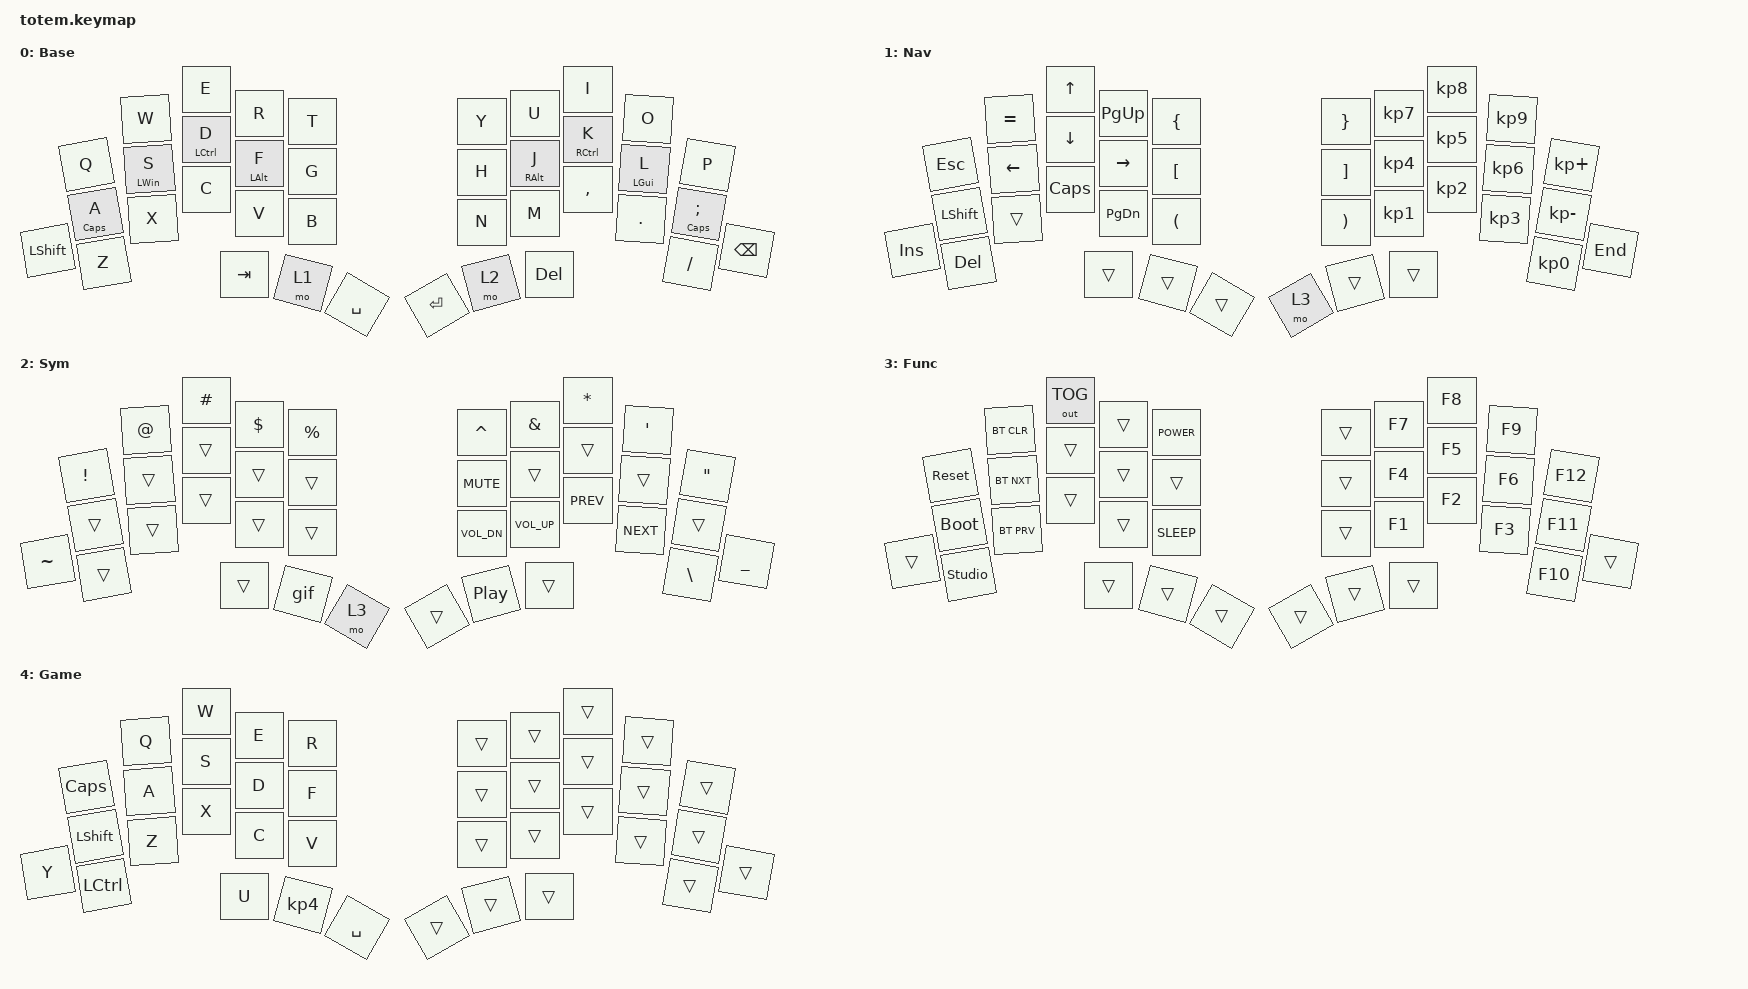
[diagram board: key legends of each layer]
//
//                                                        ▀▀▀▀▀     ▀▀▀▀▀          ▀▀█▀▀
//                                                        ▄▀▀▀▄  ▄  ▄▀▀▀▄  ▄  ▄▀▀▀▄  █  ▄▀▀▀▄
//                                                        █   █  █  █   █  █  █   █  █  █   █
//                                                         ▀▀▀   █   ▀▀▀   █   ▀▀▀   ▀   ▀▀▀
//                                                               █      ▄▄▄█▄▄▄    █   █  
//                                                               ▀      █  █  █     █▄█
//                                                             ▀▀▀▀▀    █  █  █      ▀
//                                                                      ▀  ▀  ▀
//
// ▄▄▄▄▄▄▄▄▄▄▄▄▄▄▄▄▄▄▄▄▄▄▄▄▄▄▄▄▄▄▄▄▄▄▄▄▄▄▄▄▄▄▄▄▄▄▄▄▄▄▄▄▄▄▄▄▄▄▄▄▄▄▄▄▄▄▄▄▄▄▄▄▄▄▄▄▄▄▄▄▄▄▄▄▄▄▄▄▄▄▄▄▄▄▄▄▄▄▄▄▄▄▄▄▄▄▄▄▄▄▄▄▄▄▄▄▄▄▄▄▄▄▄▄▄▄▄▄▄▄▄▄▄▄▄▄▄▄▄▄▄▄▄▄▄▄▄▄▄

#include <behaviors.dtsi>
#include <dt-bindings/zmk/bt.h>
#include <dt-bindings/zmk/keys.h>
#include <dt-bindings/zmk/outputs.h>

#define BASE 0
#define NAV  1
#define SYM  2
#define ADJ  3
#define TVP1 4
#define TVP2 5

&mt {
    quick-tap-ms = <100>;
    global-quick-tap;
    flavor = "tap-preferred";
    tapping-term-ms = <1000>;
};

/ {
    combos {
        compatible = "zmk,combos";

        combo_esc {
            timeout-ms = <50>;
            key-positions = <0 1>;
            bindings = <&kp ESC>;
        };

        Backspace {
            bindings = <&kp BACKSPACE>;
            key-positions = <16 17>;
        };

        Enter {
            bindings = <&kp ENTER>;
            key-positions = <6 7>;
        };

        Game {
            bindings = <&to 4>;
            key-positions = <34 33 32>;
            layers = <4>;
        };
    };

    macros {
        gif: gif {
            label = "giphy";
            compatible = "zmk,behavior-macro";
            #binding-cells = <0>;
            bindings =
                <&macro_press>,
                <&kp LSHFT>,
                <&macro_tap>,
                <&kp N2>,
                <&macro_release>,
                <&kp LSHFT>,
                <&macro_tap>,
                <&kp G &kp I &kp F>;
        };
    };

    keymap {
        compatible = "zmk,keymap";

        // ▄▄▄▄▄▄▄▄▄▄▄▄▄▄▄▄▄▄▄▄▄▄▄▄▄▄▄▄▄▄▄▄▄▄▄▄▄▄▄▄▄▄▄▄▄▄▄▄▄▄▄▄▄▄▄▄▄▄▄▄▄▄▄▄▄▄▄▄▄▄▄▄▄▄▄▄▄▄▄▄▄▄▄▄▄▄▄▄▄▄▄▄▄▄▄▄▄▄▄▄▄▄▄▄▄▄▄▄▄▄▄▄▄▄▄▄▄▄▄▄▄▄▄▄▄▄▄▄▄▄▄▄▄▄▄▄▄▄▄▄▄▄▄▄▄▄▄▄▄

        base_layer {
            // ┏━━━━━━━━━━━━━━━━━━━━━━━━━━━━━━━━━━━━━━━┓

            label = "Base";

            // ┗━━━━━━━━━━━━━━━━━━━━━━━━━━━━━━━━━━━━━━━┛
            //             ┏━━━━━━━━━━━┳━━━━━━━━━━━┳━━━━━━━━━━━┳━━━━━━━━━━━┳━━━━━━━━━━━┓   ┏━━━━━━━━━━━┳━━━━━━━━━━━┳━━━━━━━━━━━┳━━━━━━━━━━━┳━━━━━━━━━━━┓
            //             ┃     Q     ┃     W     ┃     F     ┃     P     ┃     G     ┃   ┃     J     ┃     L     ┃     U     ┃     Y     ┃     ;     ┃
            //             ┣━━━━━━━━━━━╋━━━━━━━━━━━╋━━━━━━━━━━━╋━━━━━━━━━━━╋━━━━━━━━━━━┫   ┣━━━━━━━━━━━╋━━━━━━━━━━━╋━━━━━━━━━━━╋━━━━━━━━━━━╋━━━━━━━━━━━┫
            //             ┃     A     ┃     R     ┃     S     ┃     T     ┃     D     ┃   ┃     H     ┃     N     ┃     E     ┃     I     ┃     O     ┃
            // ┏━━━━━━━━━━━╋━━━━━━━━━━━╋━━━━━━━━━━━╋━━━━━━━━━━━╋━━━━━━━━━━━╋━━━━━━━━━━━┫   ┣━━━━━━━━━━━╋━━━━━━━━━━━╋━━━━━━━━━━━╋━━━━━━━━━━━╋━━━━━━━━━━━╋━━━━━━━━━━━┓
            // ┃     Q     ┃     Z     ┃     X     ┃     C     ┃     V     ┃     B     ┃   ┃     K     ┃     M     ┃     ,     ┃     .     ┃     /     ┃     \     ┃
            // ┗━━━━━━━━━━━┻━━━━━━━━━━━┻━━━━━━━━━━━╋━━━━━━━━━━━╋━━━━━━━━━━━╋━━━━━━━━━━━┫   ┣━━━━━━━━━━━╋━━━━━━━━━━━╋━━━━━━━━━━━╋━━━━━━━━━━━┻━━━━━━━━━━━┻━━━━━━━━━━━┛
            //                                     ┃    DEL    ┃    TAB    ┃    SPC    ┃   ┃   ENTER   ┃           ┃   BSPC    ┃
            //                                     ┗━━━━━━━━━━━┻━━━━━━━━━━━┻━━━━━━━━━━━┛   ┗━━━━━━━━━━━┻━━━━━━━━━━━┻━━━━━━━━━━━┛

            bindings = <
                &kp Q       &kp W           &kp E               &kp R           &kp T        &kp Y    &kp U            &kp I                &kp O           &kp P
                &mt CLCK A  &mt LEFT_WIN S  &mt LEFT_CONTROL D  &mt LEFT_ALT F  &kp G        &kp H    &mt RIGHT_ALT J  &mt RIGHT_CONTROL K  &mt LEFT_GUI L  &mt CLCK SEMICOLON
&kp LEFT_SHIFT  &kp Z       &kp X           &kp C               &kp V           &kp B        &kp N    &kp M            &kp COMMA            &kp DOT         &kp FSLH            &kp BACKSPACE
                                            &kp TAB             &mo 1           &kp SPACE    &kp RET  &mo 2            &kp DEL
            >;
        };

        // ▄▄▄▄▄▄▄▄▄▄▄▄▄▄▄▄▄▄▄▄▄▄▄▄▄▄▄▄▄▄▄▄▄▄▄▄▄▄▄▄▄▄▄▄▄▄▄▄▄▄▄▄▄▄▄▄▄▄▄▄▄▄▄▄▄▄▄▄▄▄▄▄▄▄▄▄▄▄▄▄▄▄▄▄▄▄▄▄▄▄▄▄▄▄▄▄▄▄▄▄▄▄▄▄▄▄▄▄▄▄▄▄▄▄▄▄▄▄▄▄▄▄▄▄▄▄▄▄▄▄▄▄▄▄▄▄▄▄▄▄▄▄▄▄▄▄▄▄▄

        nav_layer {
            // ┏━━━━━━━━━━━━━━━━━━━━━━━━━━━━━━━━━━━━━━━┓

            label = "Nav";

            // ┗━━━━━━━━━━━━━━━━━━━━━━━━━━━━━━━━━━━━━━━┛
            //             ┏━━━━━━━━━━━┳━━━━━━━━━━━┳━━━━━━━━━━━┳━━━━━━━━━━━┳━━━━━━━━━━━┓   ┏━━━━━━━━━━━┳━━━━━━━━━━━┳━━━━━━━━━━━┳━━━━━━━━━━━┳━━━━━━━━━━━┓
            //             ┃           ┃           ┃     UP    ┃           ┃     {     ┃   ┃     }     ┃     7     ┃     8     ┃     9     ┃     +     ┃
            //             ┣━━━━━━━━━━━╋━━━━━━━━━━━╋━━━━━━━━━━━╋━━━━━━━━━━━╋━━━━━━━━━━━┫   ┣━━━━━━━━━━━╋━━━━━━━━━━━╋━━━━━━━━━━━╋━━━━━━━━━━━╋━━━━━━━━━━━┫
            //             ┃   SHIFT   ┃   LEFT    ┃    DOWN   ┃   RIGHT   ┃     [     ┃   ┃     ]     ┃     4     ┃     5     ┃     6     ┃     -     ┃
            // ┏━━━━━━━━━━━╋━━━━━━━━━━━╋━━━━━━━━━━━╋━━━━━━━━━━━╋━━━━━━━━━━━╋━━━━━━━━━━━┫   ┣━━━━━━━━━━━╋━━━━━━━━━━━╋━━━━━━━━━━━╋━━━━━━━━━━━╋━━━━━━━━━━━╋━━━━━━━━━━━┓
            // ┃           ┃           ┃   P UP    ┃  C LOCK   ┃  P DOWN   ┃     (     ┃   ┃     )     ┃     1     ┃     2     ┃     3     ┃     *     ┃           ┃
            // ┗━━━━━━━━━━━┻━━━━━━━━━━━┻━━━━━━━━━━━╋━━━━━━━━━━━╋━━━━━━━━━━━╋━━━━━━━━━━━┫   ┣━━━━━━━━━━━╋━━━━━━━━━━━╋━━━━━━━━━━━╋━━━━━━━━━━━┻━━━━━━━━━━━┻━━━━━━━━━━━┛
            //                                     ┃           ┃    TAB    ┃    SPC    ┃   ┃    DEL    ┃     0     ┃           ┃
            //                                     ┗━━━━━━━━━━━┻━━━━━━━━━━━┻━━━━━━━━━━━┛   ┗━━━━━━━━━━━┻━━━━━━━━━━━┻━━━━━━━━━━━┛

            bindings = <
         &kp ESC    &kp EQUAL  &kp UP    &kp PG_UP  &kp LBRC    &kp RBRC  &kp KP_N7        &kp KP_N8  &kp KP_N9  &kp KP_PLUS
         &kp LSHFT  &kp LEFT   &kp DOWN  &kp RIGHT  &kp LBKT    &kp RBKT  &kp KP_N4        &kp KP_N5  &kp KP_N6  &kp KP_MINUS
&kp INS  &kp DEL    &trans     &kp CAPS  &kp PG_DN  &kp LPAR    &kp RPAR  &kp KP_NUMBER_1  &kp KP_N2  &kp KP_N3  &kp KP_NUMBER_0  &kp END
                               &trans    &trans     &trans      &mo 3     &trans           &trans
            >;
        };

        // ▄▄▄▄▄▄▄▄▄▄▄▄▄▄▄▄▄▄▄▄▄▄▄▄▄▄▄▄▄▄▄▄▄▄▄▄▄▄▄▄▄▄▄▄▄▄▄▄▄▄▄▄▄▄▄▄▄▄▄▄▄▄▄▄▄▄▄▄▄▄▄▄▄▄▄▄▄▄▄▄▄▄▄▄▄▄▄▄▄▄▄▄▄▄▄▄▄▄▄▄▄▄▄▄▄▄▄▄▄▄▄▄▄▄▄▄▄▄▄▄▄▄▄▄▄▄▄▄▄▄▄▄▄▄▄▄▄▄▄▄▄▄▄▄▄▄▄▄▄

        sym_layer {
            // ┏━━━━━━━━━━━━━━━━━━━━━━━━━━━━━━━━━━━━━━━┓

            label = "Sym";

            // ┗━━━━━━━━━━━━━━━━━━━━━━━━━━━━━━━━━━━━━━━┛
            //             ┏━━━━━━━━━━━┳━━━━━━━━━━━┳━━━━━━━━━━━┳━━━━━━━━━━━┳━━━━━━━━━━━┓   ┏━━━━━━━━━━━┳━━━━━━━━━━━┳━━━━━━━━━━━┳━━━━━━━━━━━┳━━━━━━━━━━━┓
            //             ┃     !     ┃     @     ┃     #     ┃     $     ┃     %     ┃   ┃     ˆ     ┃     &     ┃     Ü     ┃     '     ┃     "     ┃
            //             ┣━━━━━━━━━━━╋━━━━━━━━━━━╋━━━━━━━━━━━╋━━━━━━━━━━━╋━━━━━━━━━━━┫   ┣━━━━━━━━━━━╋━━━━━━━━━━━╋━━━━━━━━━━━╋━━━━━━━━━━━╋━━━━━━━━━━━┫
            //             ┃     Ä     ┃           ┃    SZ     ┃           ┃           ┃   ┃   MUTE    ┃   YEN     ┃   EURO    ┃  POUND    ┃     Ö     ┃
            // ┏━━━━━━━━━━━╋━━━━━━━━━━━╋━━━━━━━━━━━╋━━━━━━━━━━━╋━━━━━━━━━━━╋━━━━━━━━━━━┫   ┣━━━━━━━━━━━╋━━━━━━━━━━━╋━━━━━━━━━━━╋━━━━━━━━━━━╋━━━━━━━━━━━╋━━━━━━━━━━━┓
            // ┃           ┃  EMAIL1   ┃  EMAIL2   ┃           ┃           ┃           ┃   ┃   VOL-    ┃   VOL+    ┃   LAST    ┃   NEXT    ┃     \     ┃           ┃
            // ┗━━━━━━━━━━━┻━━━━━━━━━━━┻━━━━━━━━━━━╋━━━━━━━━━━━╋━━━━━━━━━━━╋━━━━━━━━━━━┫   ┣━━━━━━━━━━━╋━━━━━━━━━━━╋━━━━━━━━━━━╋━━━━━━━━━━━┻━━━━━━━━━━━┻━━━━━━━━━━━┛
            //                                     ┃           ┃    GIF    ┃    ADJ    ┃   ┃           ┃           ┃           ┃
            //                                     ┗━━━━━━━━━━━┻━━━━━━━━━━━┻━━━━━━━━━━━┛   ┗━━━━━━━━━━━┻━━━━━━━━━━━┻━━━━━━━━━━━┛

            bindings = <
           &kp EXCL  &kp AT  &kp HASH  &kp DLLR  &kp PRCNT    &kp CARET     &kp AMPS      &kp ASTERISK  &kp SQT     &kp DQT
           &trans    &trans  &trans    &trans    &trans       &kp C_MUTE    &trans        &trans        &trans      &trans
&kp TILDE  &trans    &trans  &trans    &trans    &trans       &kp C_VOL_DN  &kp C_VOL_UP  &kp C_PREV    &kp C_NEXT  &kp BSLH  &kp UNDER
                             &trans    &gif      &mo 3        &trans        &kp C_PP      &trans
            >;
        };

        // ▄▄▄▄▄▄▄▄▄▄▄▄▄▄▄▄▄▄▄▄▄▄▄▄▄▄▄▄▄▄▄▄▄▄▄▄▄▄▄▄▄▄▄▄▄▄▄▄▄▄▄▄▄▄▄▄▄▄▄▄▄▄▄▄▄▄▄▄▄▄▄▄▄▄▄▄▄▄▄▄▄▄▄▄▄▄▄▄▄▄▄▄▄▄▄▄▄▄▄▄▄▄▄▄▄▄▄▄▄▄▄▄▄▄▄▄▄▄▄▄▄▄▄▄▄▄▄▄▄▄▄▄▄▄▄▄▄▄▄▄▄▄▄▄▄▄▄▄▄

        adjust_layer {
            // ┏━━━━━━━━━━━━━━━━━━━━━━━━━━━━━━━━━━━━━━━┓

            label = "Func";

            // ┗━━━━━━━━━━━━━━━━━━━━━━━━━━━━━━━━━━━━━━━┛
            //             ┏━━━━━━━━━━━┳━━━━━━━━━━━┳━━━━━━━━━━━┳━━━━━━━━━━━┳━━━━━━━━━━━┓   ┏━━━━━━━━━━━┳━━━━━━━━━━━┳━━━━━━━━━━━┳━━━━━━━━━━━┳━━━━━━━━━━━┓
            //             ┃   RESET   ┃ BT CLEAR  ┃  OUT TOG  ┃           ┃           ┃   ┃           ┃    F7     ┃    F8     ┃    F9     ┃    F12    ┃
            //             ┣━━━━━━━━━━━╋━━━━━━━━━━━╋━━━━━━━━━━━╋━━━━━━━━━━━╋━━━━━━━━━━━┫   ┣━━━━━━━━━━━╋━━━━━━━━━━━╋━━━━━━━━━━━╋━━━━━━━━━━━╋━━━━━━━━━━━┫
            //             ┃ BOOTLOAD  ┃ BT NEXT   ┃           ┃           ┃           ┃   ┃           ┃    F4     ┃    F5     ┃    F6     ┃    F11    ┃
            // ┏━━━━━━━━━━━╋━━━━━━━━━━━╋━━━━━━━━━━━╋━━━━━━━━━━━╋━━━━━━━━━━━╋━━━━━━━━━━━┫   ┣━━━━━━━━━━━╋━━━━━━━━━━━╋━━━━━━━━━━━╋━━━━━━━━━━━╋━━━━━━━━━━━╋━━━━━━━━━━━┓
            // ┃           ┃           ┃ BT PREV   ┃           ┃           ┃           ┃   ┃           ┃    F1     ┃    F2     ┃    F3     ┃    F10    ┃           ┃
            // ┗━━━━━━━━━━━┻━━━━━━━━━━━┻━━━━━━━━━━━╋━━━━━━━━━━━╋━━━━━━━━━━━╋━━━━━━━━━━━┫   ┣━━━━━━━━━━━╋━━━━━━━━━━━╋━━━━━━━━━━━╋━━━━━━━━━━━┻━━━━━━━━━━━┻━━━━━━━━━━━┛
            //                                     ┃           ┃           ┃           ┃   ┃           ┃           ┃           ┃
            //                                     ┗━━━━━━━━━━━┻━━━━━━━━━━━┻━━━━━━━━━━━┛   ┗━━━━━━━━━━━┻━━━━━━━━━━━┻━━━━━━━━━━━┛

            bindings = <
        &sys_reset      &bt BT_CLR  &out OUT_TOG  &trans  &kp C_POWER    &trans  &kp F7  &kp F8  &kp F9  &kp F12
        &bootloader     &bt BT_NXT  &trans        &trans  &trans         &trans  &kp F4  &kp F5  &kp F6  &kp F11
&trans  &studio_unlock  &bt BT_PRV  &trans        &trans  &kp C_SLEEP    &trans  &kp F1  &kp F2  &kp F3  &kp F10  &trans
                                    &trans        &trans  &trans         &trans  &trans  &trans
            >;
        };

        game_layer {
            bindings = <
       &kp CLCK        &kp Q  &kp W  &kp E            &kp R        &trans  &trans  &trans  &trans  &trans
       &kp LEFT_SHIFT  &kp A  &kp S  &kp D            &kp F        &trans  &trans  &trans  &trans  &trans
&kp Y  &kp LCTRL       &kp Z  &kp X  &kp C            &kp V        &trans  &trans  &trans  &trans  &trans  &trans
                              &kp U  &kp KP_NUMBER_4  &kp SPACE    &trans  &trans  &trans
            >;

            label = "Game";
        };

        // ▄▄▄▄▄▄▄▄▄▄▄▄▄▄▄▄▄▄▄▄▄▄▄▄▄▄▄▄▄▄▄▄▄▄▄▄▄▄▄▄▄▄▄▄▄▄▄▄▄▄▄▄▄▄▄▄▄▄▄▄▄▄▄▄▄▄▄▄▄▄▄▄▄▄▄▄▄▄▄▄▄▄▄▄▄▄▄▄▄▄▄▄▄▄▄▄▄▄▄▄▄▄▄▄▄▄▄▄▄▄▄▄▄▄▄▄▄▄▄▄▄▄▄▄▄▄▄▄▄▄▄▄▄▄▄▄▄▄▄▄▄▄▄▄▄▄▄▄▄
        // ▄▄▄▄▄▄▄▄▄▄▄▄▄▄▄▄▄▄▄▄▄▄▄▄▄▄▄▄▄▄▄▄▄▄▄▄▄▄▄▄▄▄▄▄▄▄▄▄▄▄▄▄▄▄▄▄▄▄▄▄▄▄▄▄▄▄▄▄▄▄▄▄▄▄▄▄▄▄▄▄▄▄▄▄▄▄▄▄▄▄▄▄▄▄▄▄▄▄▄▄▄▄▄▄▄▄▄▄▄▄▄▄▄▄▄▄▄▄▄▄▄▄▄▄▄▄▄▄▄▄▄▄▄▄▄▄▄▄▄▄▄▄▄▄▄▄▄▄▄
    };
};
